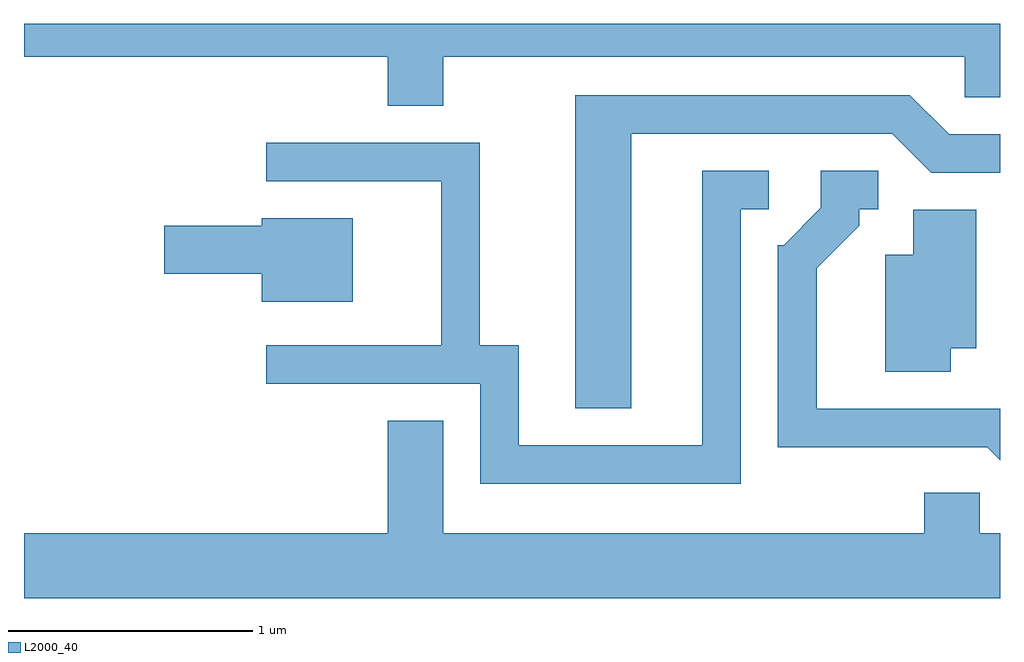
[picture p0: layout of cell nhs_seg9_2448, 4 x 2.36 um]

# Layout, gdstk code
import gdstk
lib = gdstk.Library(unit=1e-6, precision=1e-09)
def P(c, l, *ps):  # polygons
    for p in ps: c.add(gdstk.Polygon(p, *l))
L2000_40 = (2000, 40)

nhs_seg9_2448 = lib.new_cell('nhs_seg9_2448')
P(nhs_seg9_2448, L2000_40, [(259.329,1956.296),(261.466,1956.296),(261.466,1956.131),(261.611,1956.131),(261.611,1956.432),(257.611,1956.432),(257.611,1956.296),(259.101,1956.296),(259.101,1956.096),(259.329,1956.096)],
  [(260.099,1955.981),(261.169,1955.981),(261.329,1955.821),(261.611,1955.821),(261.611,1955.979),(261.402,1955.979),(261.242,1956.139),(259.871,1956.139),(259.871,1954.856),(260.099,1954.856)],
  [(260.549,1955.671),(260.663,1955.671),(260.663,1955.829),(260.391,1955.829),(260.391,1954.704),(259.639,1954.704),(259.639,1955.114),(259.479,1955.114),(259.479,1955.944),(258.603,1955.944),(258.603,1955.786),(259.321,1955.786),(259.321,1955.114),(258.603,1955.114),(258.603,1954.956),(259.481,1954.956),(259.481,1954.546),(260.549,1954.546)],
  [(261.611,1954.854),(260.859,1954.854),(260.859,1955.429),(261.034,1955.604),(261.034,1955.671),(261.113,1955.671),(261.113,1955.829),(260.876,1955.829),(260.876,1955.677),(260.724,1955.524),(260.701,1955.524),(260.701,1954.696),(261.558,1954.696),(261.611,1954.643)],
  [(261.409,1955.101),(261.514,1955.101),(261.514,1955.669),(261.256,1955.669),(261.256,1955.484),(261.141,1955.484),(261.141,1955.006),(261.409,1955.006)],
  [(258.959,1955.634),(258.586,1955.634),(258.586,1955.604),(258.186,1955.604),(258.186,1955.406),(258.586,1955.406),(258.586,1955.291),(258.959,1955.291)],
  [(261.611,1954.344),(261.529,1954.344),(261.529,1954.509),(261.301,1954.509),(261.301,1954.344),(259.329,1954.344),(259.329,1954.804),(259.101,1954.804),(259.101,1954.344),(257.611,1954.344),(257.611,1954.076),(261.611,1954.076)])

lib.write_gds('nhs_seg9_2448.gds')
